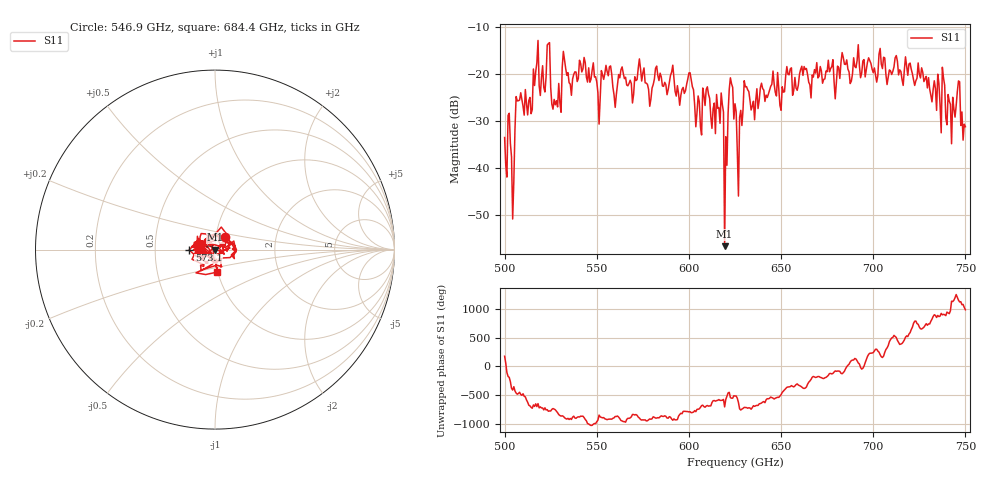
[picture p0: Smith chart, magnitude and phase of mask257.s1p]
!Created with skrf (http://scikit-rf.org).
# GHz S MA R 50.0
!freq magS11 angS11
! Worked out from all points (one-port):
!   401 points, 500 GHz to 750 GHz, reference 50 ohm
!   lowest |S11| = -56.7 dB at 619.4 GHz (marker M1), VSWR 1.00, Z = 50.1 + j0.0378 ohm
!   |S11| at or under -10 dB: start of sweep to end of sweep
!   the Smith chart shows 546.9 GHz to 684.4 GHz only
!   S11 on the Smith chart (normalised r, x): 546.9 GHz: 1.10, +0.15; 573.1 GHz: 0.75, -0.00; 684.4 GHz: 0.99, -0.25
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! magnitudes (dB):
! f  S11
! 500 GHz  -33.6
! 504.4 GHz  -50.9
! 507.5 GHz  -25.8
! 513.8 GHz  -25.1
! 516.9 GHz  -19.6
! 520.6 GHz  -18.3
! 523.8 GHz  -13.6
! 526.9 GHz  -25.5
! 531.2 GHz  -18.7
! 546.9 GHz  -21.2
! 562.5 GHz  -20.9
! 573.1 GHz  -16.9
! 593.8 GHz  -22.6
! 617.5 GHz  -24.1
! 619.4 GHz  -56.7
! 620.6 GHz  -39.5
! 622.5 GHz  -20.9
! 625 GHz  -26.4
! 627.5 GHz  -29.3
! 631.2 GHz  -22.8
! 635 GHz  -25.9
! 656.2 GHz  -24.6
! 684.4 GHz  -18.0
! 687.5 GHz  -22.1
! 718.8 GHz  -20.4
! 741.2 GHz  -25.9
! 745.6 GHz  -23.8
! 750 GHz  -31.3
